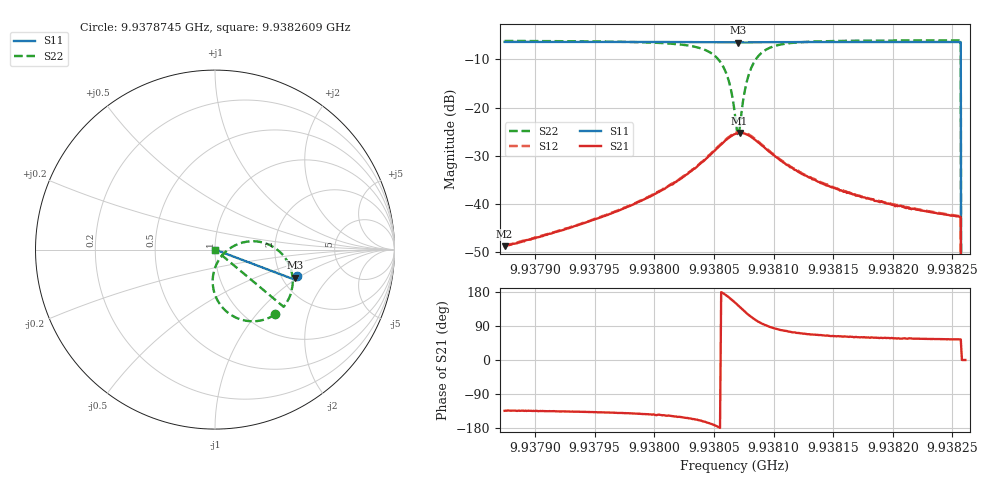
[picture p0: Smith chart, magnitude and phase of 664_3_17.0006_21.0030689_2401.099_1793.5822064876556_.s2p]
#  HZ  S  RI  R  50.00
! Rohde & Schwarz Vector Network Analyzer
! Rohde-Schwarz,ZNB20-2Port,1311601062101988,3.16
! Created: UTC 3/20/2024, 11:21:53 PM
! freq[Hz]  re:S11  im:S11  re:S21  im:S21  re:S12  im:S12  re:S22  im:S22
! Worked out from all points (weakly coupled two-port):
!   401 points, 9.9378745 GHz to 9.9382609 GHz, reference 50 ohm
!   highest |S21| = -25.24 dB at 9.9380715 GHz (marker M1); lowest = -48.8 dB at 9.9378745 GHz (marker M2)
!   lowest |S11| = -6.5 dB at 9.9380706 GHz (marker M3), VSWR 2.80, Z = 118 - j47.2 ohm
!   |S11| at or under -10 dB: 9.938257 GHz to end of sweep
!   |S22| runs from - to -6.1 dB; largest |S21 - S12| = 0.0016
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9.93787448e9  0.4585 -0.1459  -0.00254 -0.00263  -0.00261 -0.00262  0.3353 -0.3609
9.9379392e9  0.4566 -0.1503  -0.00454 -0.00425  -0.00462 -0.00428  0.3138 -0.3737
9.93800392e9  0.4542 -0.1552  -0.0108 -0.00779  -0.0113 -0.0077  0.2543 -0.395
9.93803483e9  0.4521 -0.1575  -0.0219 -0.00923  -0.0225 -0.00916  0.1617 -0.3941
9.93805125e9  0.4499 -0.1583  -0.0361 -0.00427  -0.0369 -0.00396  0.0545 -0.3362
9.93805705e9  0.4489 -0.1581  -0.0424 0.00192  -0.0434 0.00256  0.0107 -0.2764
9.93806091e9  0.4482 -0.1577  -0.0461 0.0088  -0.047 0.00951  -0.00917 -0.217
9.93806478e9  0.4477 -0.157  -0.0478 0.0177  -0.0486 0.0186  -0.0104 -0.1433
9.93806768e9  0.4475 -0.1562  -0.0469 0.0253  -0.0475 0.0264  0.00736 -0.0833
9.93806961e9  0.4476 -0.1558  -0.0449 0.0303  -0.0455 0.0316  0.0296 -0.0455
9.93807057e9  0.4475 -0.1554  -0.0437 0.0327  -0.0442 0.034  0.0435 -0.0281
9.93807154e9  0.4479 -0.1551  -0.0422 0.0348  -0.0426 0.0362  0.0593 -0.0121
9.9380754e9  0.4485 -0.1545  -0.0341 0.0419  -0.0342 0.0435  0.1345 0.0335
9.9380783e9  0.4492 -0.1541  -0.0269 0.0448  -0.0269 0.0462  0.1959 0.0462
9.93808216e9  0.4502 -0.1539  -0.0179 0.0453  -0.0175 0.0468  0.2704 0.0383
9.938087e9  0.4509 -0.1545  -0.00862 0.0428  -0.00807 0.0442  0.3399 0.00492
9.93810245e9  0.4525 -0.1566  0.00421 0.0302  0.005 0.0308  0.4253 -0.1181
9.9381324e9  0.4525 -0.16  0.00698 0.0167  0.00734 0.0168  0.4264 -0.2311
9.93819712e9  0.4505 -0.1652  0.00533 0.00847  0.00546 0.00845  0.3974 -0.298
9.93825508e9  0.449 -0.1692  0.00433 0.00603  0.00448 0.00606  0.3828 -0.3187
9.93825991e9  0 0  0 0  0 0  0 0
9.93826088e9  0 0  0 0  0 0  0 0
